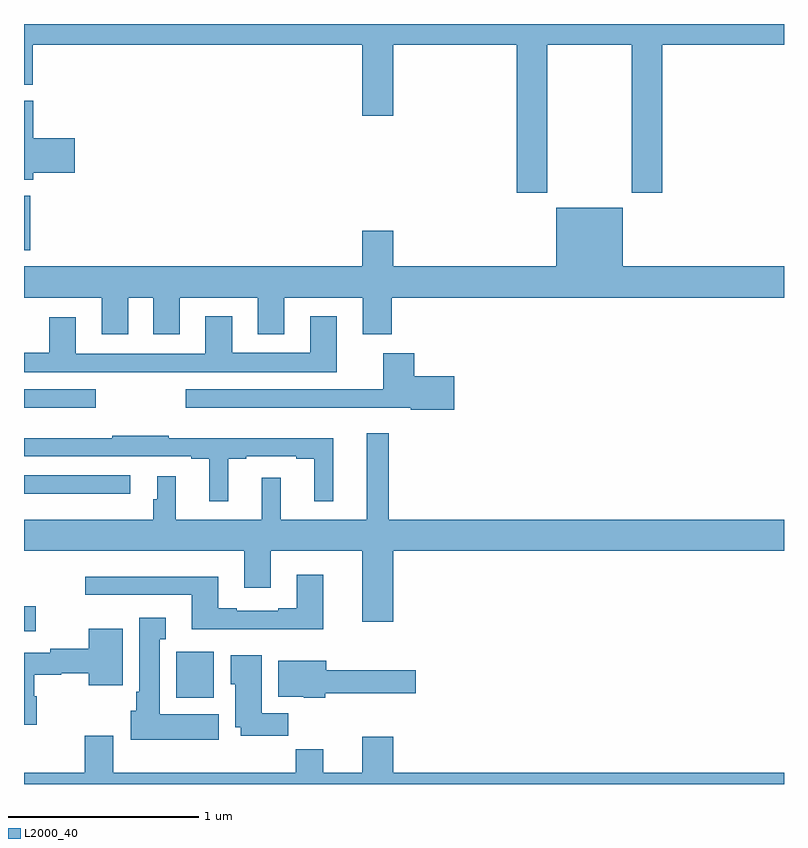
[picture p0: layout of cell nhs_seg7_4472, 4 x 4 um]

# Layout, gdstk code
import gdstk
lib = gdstk.Library(unit=1e-6, precision=1e-09)
def R(c, l, rs):  # rectangles x0, y0, x1, y1
    for r in rs: c.add(gdstk.rectangle(r[:2], r[2:], *l))
def P(c, l, *ps):  # polygons
    for p in ps: c.add(gdstk.Polygon(p, *l))
L2000_40 = (2000, 40)

nhs_seg7_4472 = lib.new_cell('nhs_seg7_4472')
R(nhs_seg7_4472, L2000_40, [(391.802,1054.454,391.999,1054.696), (391,1054.805,391.063,1054.935), (391,1055.528,391.558,1055.625), (391,1055.981,391.378,1056.078), (391,1056.81,391.034,1057.095)])
P(nhs_seg7_4472, L2000_40, [(393.753,1057.892),(394.198,1057.892),(394.198,1057.113),(394.358,1057.113),(394.358,1057.892),(395,1057.892),(395,1058),(391,1058),(391,1057.681),(391.046,1057.681),(391.046,1057.892),(392.78,1057.892),(392.78,1057.518),(392.944,1057.518),(392.944,1057.892),(393.593,1057.892),(393.593,1057.113),(393.753,1057.113)],
  [(391.049,1057.217),(391.267,1057.217),(391.267,1057.4),(391.049,1057.4),(391.049,1057.596),(391,1057.596),(391,1057.18),(391.049,1057.18)],
  [(392.78,1056.724),(391,1056.724),(391,1056.56),(391.409,1056.56),(391.409,1056.366),(391.549,1056.366),(391.549,1056.56),(391.679,1056.56),(391.679,1056.366),(391.819,1056.366),(391.819,1056.56),(392.231,1056.56),(392.231,1056.366),(392.371,1056.366),(392.371,1056.56),(392.783,1056.56),(392.783,1056.366),(392.936,1056.366),(392.936,1056.56),(395,1056.56),(395,1056.724),(394.15,1056.724),(394.15,1057.033),(393.8,1057.033),(393.8,1056.724),(392.944,1056.724),(392.944,1056.913),(392.78,1056.913)],
  [(392.647,1056.463),(392.507,1056.463),(392.507,1056.269),(392.095,1056.269),(392.095,1056.463),(391.955,1056.463),(391.955,1056.264),(391.273,1056.264),(391.273,1056.457),(391.133,1056.457),(391.133,1056.269),(391,1056.269),(391,1056.168),(392.647,1056.168)],
  [(393.265,1056.147),(393.053,1056.147),(393.053,1056.268),(392.891,1056.268),(392.891,1056.078),(391.851,1056.078),(391.851,1055.981),(393.036,1055.981),(393.036,1055.969),(393.265,1055.969)],
  [(392.944,1055.228),(395,1055.228),(395,1055.392),(392.921,1055.392),(392.921,1055.845),(392.804,1055.845),(392.804,1055.392),(392.351,1055.392),(392.351,1055.611),(392.252,1055.611),(392.252,1055.392),(391.799,1055.392),(391.799,1055.62),(391.7,1055.62),(391.7,1055.498),(391.681,1055.498),(391.681,1055.392),(391,1055.392),(391,1055.228),(392.159,1055.228),(392.159,1055.034),(392.299,1055.034),(392.299,1055.228),(392.78,1055.228),(392.78,1054.854),(392.944,1054.854)],
  [(392.075,1055.712),(392.17,1055.712),(392.17,1055.724),(392.432,1055.724),(392.432,1055.712),(392.528,1055.712),(392.528,1055.487),(392.627,1055.487),(392.627,1055.821),(391.763,1055.821),(391.763,1055.833),(391.465,1055.833),(391.465,1055.821),(391,1055.821),(391,1055.724),(391.88,1055.724),(391.88,1055.712),(391.976,1055.712),(391.976,1055.487),(392.075,1055.487)],
  [(392.575,1055.101),(392.435,1055.101),(392.435,1054.924),(392.339,1054.924),(392.339,1054.911),(392.119,1054.911),(392.119,1054.924),(392.023,1054.924),(392.023,1055.092),(391.323,1055.092),(391.323,1054.995),(391.883,1054.995),(391.883,1054.814),(392.575,1054.814)],
  [(392.026,1054.366),(391.714,1054.366),(391.714,1054.763),(391.747,1054.763),(391.747,1054.876),(391.607,1054.876),(391.607,1054.486),(391.592,1054.486),(391.592,1054.386),(391.562,1054.386),(391.562,1054.232),(392.026,1054.232)],
  [(391.067,1054.461),(391.054,1054.461),(391.054,1054.576),(391.197,1054.576),(391.197,1054.584),(391.34,1054.584),(391.34,1054.52),(391.519,1054.52),(391.519,1054.816),(391.34,1054.816),(391.34,1054.712),(391.137,1054.712),(391.137,1054.692),(391,1054.692),(391,1054.311),(391.067,1054.311)],
  [(392.39,1054.372),(392.251,1054.372),(392.251,1054.678),(392.087,1054.678),(392.087,1054.524),(392.111,1054.524),(392.111,1054.298),(392.141,1054.298),(392.141,1054.254),(392.39,1054.254)],
  [(392.586,1054.478),(393.061,1054.478),(393.061,1054.6),(392.59,1054.6),(392.59,1054.648),(392.339,1054.648),(392.339,1054.46),(392.472,1054.46),(392.472,1054.454),(392.586,1054.454)],
  [(395,1054.06),(392.944,1054.06),(392.944,1054.249),(392.78,1054.249),(392.78,1054.06),(392.575,1054.06),(392.575,1054.184),(392.431,1054.184),(392.431,1054.06),(391.471,1054.06),(391.471,1054.255),(391.319,1054.255),(391.319,1054.06),(391,1054.06),(391,1054),(395,1054)])

lib.write_gds('nhs_seg7_4472.gds')
